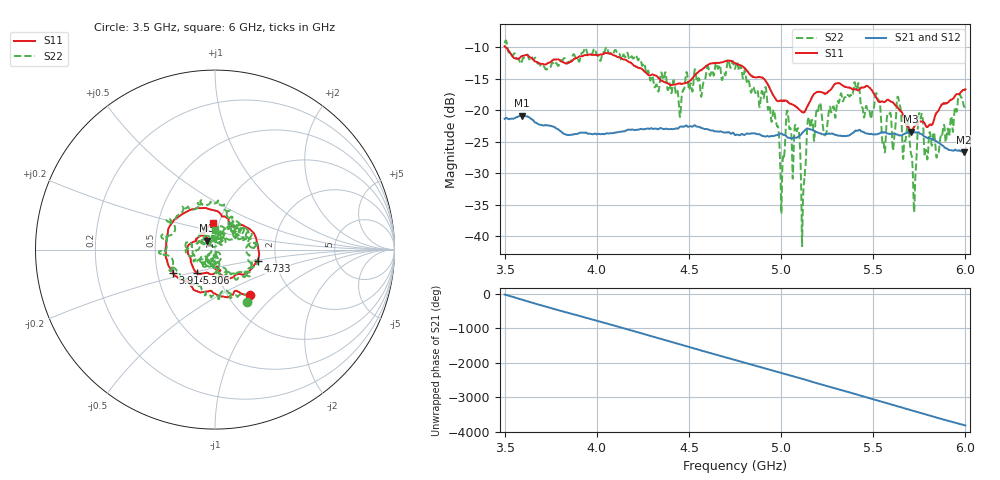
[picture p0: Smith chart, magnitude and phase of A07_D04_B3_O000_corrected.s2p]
! Created with skrf 1.9.0 (http://scikit-rf.org).
# Hz S RI R 50.0
!freq ReS11 ImS11 ReS21 ImS21 ReS12 ImS12 ReS22 ImS22
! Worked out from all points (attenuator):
!   1601 points, 3.5 GHz to 6 GHz, reference 50 ohm
!   highest |S21| = -20.87 dB at 3.592 GHz (marker M1); lowest = -26.7 dB at 5.994 GHz (marker M2)
!   lowest |S11| = -23.4 dB at 5.706 GHz (marker M3), VSWR 1.14, Z = 45.4 + j4.45 ohm
!   |S11| at or under -10 dB: 3.507 GHz to end of sweep
!   |S22| runs from -41.6 to -8.9 dB; largest |S21 - S12| = 0.0012
!   S11 on the Smith chart (normalised r, x): 3.5 GHz: 1.26, -0.72; 3.914 GHz: 0.60, -0.17; 4.733 GHz: 1.60, -0.21; 5.306 GHz: 0.79, -0.21; 6 GHz: 0.94, +0.28
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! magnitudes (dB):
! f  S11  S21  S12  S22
! 3.5 GHz  -9.9  -21.4  -21.3  -9.3
! 3.592 GHz  -11.4  -20.9  -20.8  -12.4
! 3.914 GHz  -11.4  -23.6  -23.5  -11.2
! 3.917 GHz  -11.4  -23.6  -23.5  -10.9
! 4.334 GHz  -14.9  -23.0  -22.9  -17.0
! 4.733 GHz  -12.2  -23.7  -23.7  -12.8
! 4.75 GHz  -12.6  -23.9  -23.8  -13.4
! 4.912 GHz  -15.2  -24.2  -24.1  -16.6
! 5.005 GHz  -18.4  -23.7  -23.7  -31.5
! 5.036 GHz  -18.7  -24.3  -24.3  -20.2
! 5.086 GHz  -19.5  -24.3  -24.3  -23.3
! 5.119 GHz  -20.3  -23.5  -23.4  -34.5
! 5.167 GHz  -18.0  -23.1  -23.0  -21.6
! 5.306 GHz  -15.7  -24.0  -23.9  -18.6
! 5.584 GHz  -18.4  -23.7  -23.7  -20.7
! 5.639 GHz  -19.8  -24.0  -23.9  -18.4
! 5.706 GHz  -23.4  -23.6  -23.5  -27.1
! 5.725 GHz  -22.5  -23.5  -23.4  -33.8
! 5.756 GHz  -21.8  -23.7  -23.6  -21.3
! 5.848 GHz  -20.3  -25.1  -25.0  -26.9
! 5.994 GHz  -16.8  -26.7  -26.6  -19.5
! 6 GHz  -16.7  -26.7  -26.6  -19.4
